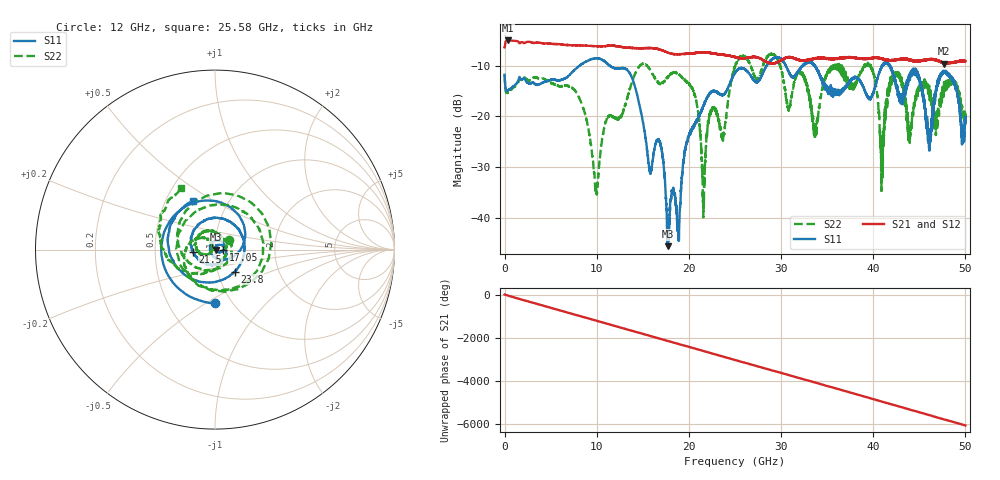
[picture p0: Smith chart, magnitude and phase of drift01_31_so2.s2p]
!Created with skrf (http://scikit-rf.org).
# Hz S RI R 50.0
!freq ReS11 ImS11 ReS21 ImS21 ReS12 ImS12 ReS22 ImS22
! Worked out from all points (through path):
!   10001 points, 300 kHz to 50 GHz, reference 50 ohm
!   highest |S21| = -5.05 dB at 325.3 MHz (marker M1); lowest = -9.6 dB at 47.67 GHz (marker M2)
!   group delay of S21, straight-line fit = 336 ps
!   lowest |S11| = -45.5 dB at 17.69 GHz (marker M3), VSWR 1.01, Z = 50.5 - j0.12 ohm
!   |S11| at or under -10 dB: start of sweep to 8.152 GHz; 11.42 GHz to 28.43 GHz (17.01 GHz wide, 85.4 % of centre); 41.78 GHz to end of sweep (the widest 3 of 12)
!   |S22| runs from -39.9 to -7.6 dB; largest |S21 - S12| = 0.013
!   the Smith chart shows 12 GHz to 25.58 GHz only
!   S11 on the Smith chart (normalised r, x): 12 GHz: 0.84, -0.55; 17.05 GHz: 1.10, -0.01; 21.5 GHz: 0.78, -0.02; 23.8 GHz: 1.21, -0.30; 25.58 GHz: 0.69, +0.41
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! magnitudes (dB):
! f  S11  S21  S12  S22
! 300 kHz  -11.8  -6.5  -6.5  -11.8
! 325.3 MHz  -15.0  -5.1  -5.1  -15.4
! 8.335 GHz  -9.7  -6.0  -6.0  -17.4
! 9.94 GHz  -8.6  -6.2  -6.2  -34.5
! 12 GHz  -10.5  -6.1  -6.1  -20.5
! 15.77 GHz  -30.9  -6.5  -6.5  -10.8
! 16.67 GHz  -24.6  -6.8  -6.8  -13.4
! 17.05 GHz  -26.6  -7.0  -7.0  -13.5
! 17.69 GHz  -45.5  -7.4  -7.4  -12.3
! 20.5 GHz  -22.1  -7.6  -7.6  -14.9
! 21.5 GHz  -18.2  -7.4  -7.4  -34.5
! 22.45 GHz  -15.2  -7.5  -7.5  -19.1
! 23.8 GHz  -15.6  -7.9  -7.9  -23.5
! 25 GHz  -11.4  -8.3  -8.4  -10.2
! 25.58 GHz  -10.5  -8.5  -8.6  -8.2
! 33.34 GHz  -9.5  -8.7  -8.7  -19.7
! 39.5 GHz  -16.5  -8.6  -8.6  -9.9
! 40.95 GHz  -10.2  -8.7  -8.6  -27.9
! 41.67 GHz  -9.7  -8.9  -9.0  -15.3
! 46.08 GHz  -25.3  -8.8  -8.8  -15.1
! 47.67 GHz  -11.3  -9.6  -9.5  -14.3
! 50 GHz  -20.8  -9.2  -9.2  -19.8
